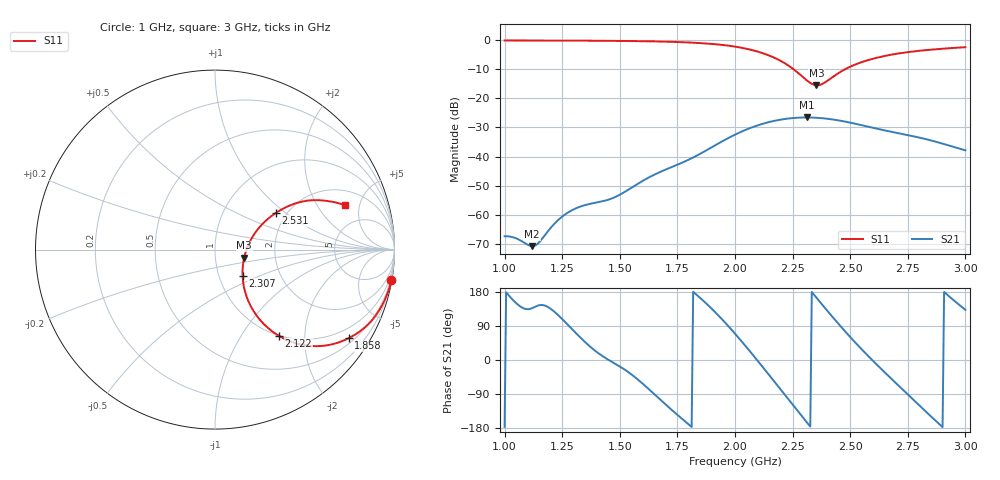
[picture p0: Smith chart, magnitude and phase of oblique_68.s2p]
! TOUCHSTONE file generated by CST MICROWAVE STUDIO
! Date and time: Tue Mar 18 00:01:28 2025
! Project name: oblique.cst
! Parameters = {Tilt=30; Fracture=1; B=12.5; D=160; F=5; Feed=2.85625; L=100; M=30; R=0.384908; S=2; Theta=180; length=57.125; wave=114.25}
! Header version: 2024
! Port assignment regex: !\s*Touchstone port\s*([0-9]+)\s*=\s*(CST MWS port|CST DES external port|CST DES block port)\s*(.+)\s* \(\"(.*)\"\)(\s*mode\s*([0-9]+))?.*
! Touchstone port assignment:
! Touchstone port 1 = CST MWS port 1 ("")
! Touchstone port 2 = CST MWS port 2 ("")
# GHz S DB R 50
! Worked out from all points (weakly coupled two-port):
!   304 points, 1 GHz to 3 GHz, reference 50 ohm
!   highest |S21| = -26.55 dB at 2.314 GHz (marker M1); lowest = -70.9 dB at 1.119 GHz (marker M2)
!   lowest |S11| = -15.5 dB at 2.353 GHz (marker M3), VSWR 1.41, Z = 69 - j6.48 ohm
!   |S11| at or under -10 dB: 2.255 GHz to 2.476 GHz (221.1 MHz wide, 9.35 % of centre)
!   S12 and S22 are empty: the file has one direction only
!   S11 on the Smith chart (normalised r, x): 1 GHz: 0, -12; 1.858 GHz: 0.65, -3.20; 2.122 GHz: 0.99, -1.49; 2.307 GHz: 1.29, -0.40; 2.531 GHz: 1.76, +0.86; 3 GHz: 3.03, +3.58
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1  -0.02 -9.8  -67.47 -176.4  -200.00 0.0  -200.00 0.0
1.0462  -0.03 -10.4  -68.07 152.3  -200.00 0.0  -200.00 0.0
1.11881  -0.04 -11.5  -70.89 136.6  -200.00 0.0  -200.00 0.0
1.14521  -0.04 -11.9  -69.92 143.8  -200.00 0.0  -200.00 0.0
1.21122  -0.05 -12.9  -63.58 129.9  -200.00 0.0  -200.00 0.0
1.25083  -0.07 -13.6  -60.64 107.6  -200.00 0.0  -200.00 0.0
1.33663  -0.09 -15.2  -57.03 54.6  -200.00 0.0  -200.00 0.0
1.47525  -0.16 -18.3  -54.13 -8.2  -200.00 0.0  -200.00 0.0
1.66667  -0.37 -24.3  -45.63 -99.6  -200.00 0.0  -200.00 0.0
1.85809  -0.97 -33.5  -38.66 158.7  -200.00 0.0  -200.00 0.0
2.0033  -2.18 -43.8  -32.34 67.2  -200.00 0.0  -200.00 0.0
2.12211  -4.45 -53.4  -28.68 -19.9  -200.00 0.0  -200.00 0.0
2.21452  -7.80 -57.9  -27.09 -90.4  -200.00 0.0  -200.00 0.0
2.30693  -13.45 -43.8  -26.55 -160.8  -200.00 0.0  -200.00 0.0
2.31353  -13.88 -40.8  -26.55 -165.7  -200.00 0.0  -200.00 0.0
2.33993  -15.21 -25.1  -26.60 174.5  -200.00 0.0  -200.00 0.0
2.35314  -15.46 -15.7  -26.65 164.6  -200.00 0.0  -200.00 0.0
2.37954  -14.98 2.4  -26.81 145.2  -200.00 0.0  -200.00 0.0
2.43894  -11.80 24.6  -27.42 102.5  -200.00 0.0  -200.00 0.0
2.53135  -8.01 31.1  -28.87 40.1  -200.00 0.0  -200.00 0.0
2.66997  -5.05 28.7  -31.34 -44.4  -200.00 0.0  -200.00 0.0
3  -2.34 18.8  -37.88 132.5  -200.00 0.0  -200.00 0.0
